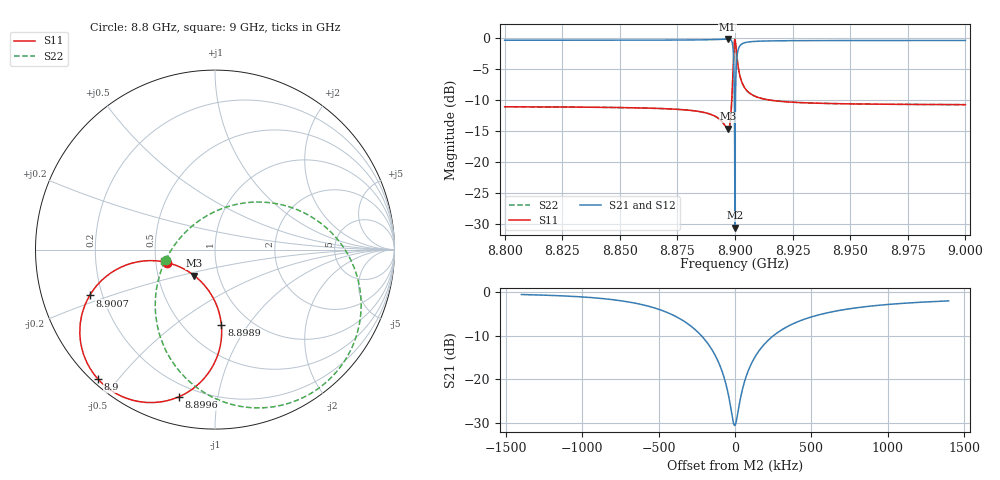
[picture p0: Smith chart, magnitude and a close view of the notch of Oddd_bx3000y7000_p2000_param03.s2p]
! Sonnet Data File
! From: emgraph Version : 16.52
! From Project: Resonator2
! Data is De-embedded
! Data File Written: 10/05/2017 10:46:04
!< HDATE 10/04/2017 20:26:48
!< MDATE 10/05/2017 00:36:07
!< PARAMS
!< gap = 16.0
!< Length = 400.0
!< Pwid1 = 2000.0
!< Pwid2 = 2000.0
!< END PARAMS
# GHZ S MA R 50.00000
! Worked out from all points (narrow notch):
!   1595 points, 8.8 GHz to 9 GHz, reference 50 ohm
!   highest |S21| = -0.16 dB at 8.8968 GHz (marker M1); lowest = -30.6 dB at 8.8999 GHz (marker M2)
!   notch at M2: 30.2 dB deep, 235 kHz wide at half that depth
!   lowest |S11| = -14.6 dB at 8.8969 GHz (marker M3), VSWR 1.46, Z = 38.2 - j11.5 ohm
!   |S11| at or under -10 dB: start of sweep to 8.8986 GHz; 8.915 GHz to end of sweep
!   |S22| runs from -14.8 to -0.3 dB; largest |S21 - S12| = 0
!   S11 on the Smith chart (normalised r, x): 8.8 GHz: 0.57, -0.09; 8.8989 GHz: 0.75, -0.76; 8.8996 GHz: 0.14, -0.78; 8.9 GHz: 0.02, -0.44; 8.9007 GHz: 0.15, -0.17; 9 GHz: 0.56, -0.08
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8.8  0.279 -164.3  0.9603 -76.0  0.9603 -76.0  0.279 -167.6
!< P1 F=8.8 Eeff=(5.36817953 -2.3731e-5) Z0=(35.9853883 8.0522e-5) R=0.0 C=0.0
!< P2 F=8.8 Eeff=(5.36817953 -2.3731e-5) Z0=(35.9853883 8.0522e-5) R=0.0 C=0.0
8.8334  0.277 -164.4  0.9609 -76.4  0.9609 -76.4  0.277 -168.5
8.8668  0.2704 -163.8  0.9627 -77.3  0.9627 -77.3  0.2704 -170.7
8.88999  0.2404 -159.2  0.9706 -80.1  0.9706 -80.1  0.2402 179.2
8.8968  0.1857 -131.0  0.9815 -88.4  0.9815 -88.4  0.1829 134.3
8.896946  0.1853 -128.4  0.9814 -89.0  0.9814 -89.0  0.1823 130.5
8.897972  0.2166 -103.0  0.9734 -95.6  0.9734 -95.6  0.2106 90.8
8.898901  0.4193 -85.2  0.8983 -111.4  0.8983 -111.4  0.4099 39.4
8.899295  0.6366 -90.5  0.7507 -127.1  0.7507 -127.1  0.6254 11.9
8.89959  0.8446 -103.8  0.4916 -145.5  0.4916 -145.5  0.8325 -14.6
8.8998  0.952 -117.7  0.2099 -158.3  0.2099 -158.3  0.9402 -36.3
8.899944  0.9756 -127.7  0.02948 -83.6  0.02948 -83.6  0.9647 -51.1
8.9  0.9733 -131.4  0.08631 -23.0  0.08631 -23.0  0.9627 -56.5
8.900012  0.972 -132.2  0.1018 -20.8  0.1018 -20.8  0.9616 -57.7
8.900099  0.9564 -137.5  0.2106 -18.5  0.2106 -18.5  0.9467 -65.5
8.900216  0.9218 -143.7  0.3393 -23.2  0.3393 -23.2  0.9131 -75.0
8.900712  0.7429 -159.9  0.6567 -42.3  0.6567 -42.3  0.7378 -102.4
8.9024  0.475 -170.6  0.8783 -62.8  0.8783 -62.8  0.4736 -134.5
8.905812  0.3662 -170.3  0.9302 -70.5  0.9302 -70.5  0.3658 -150.5
8.9334  0.2989 -167.2  0.9543 -75.6  0.9543 -75.6  0.2989 -164.1
8.9668  0.2922 -166.9  0.9564 -76.5  0.9564 -76.5  0.2921 -166.0
9  0.2901 -166.9  0.957 -76.9  0.957 -76.9  0.2901 -166.9
